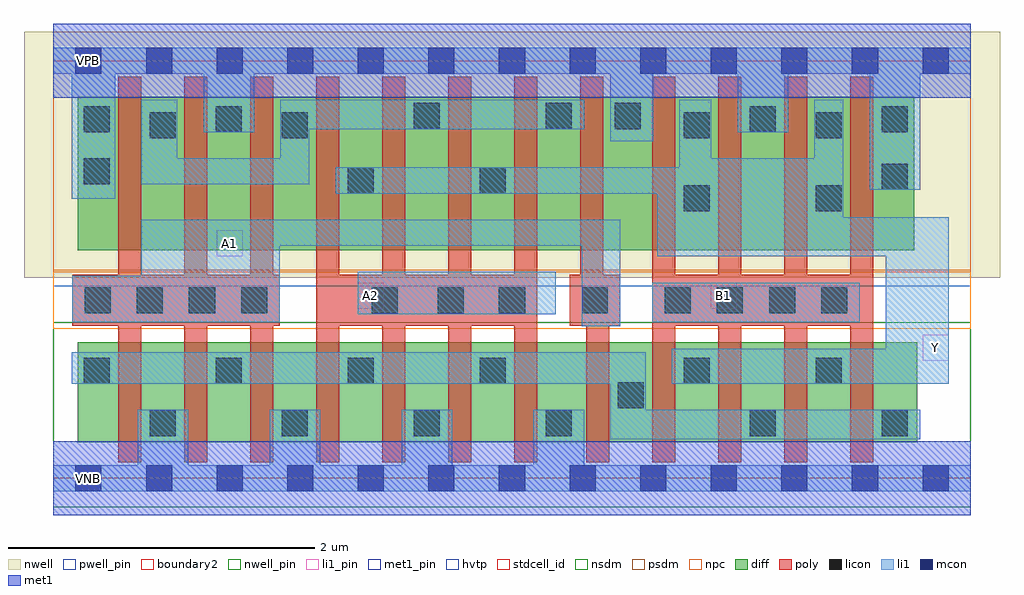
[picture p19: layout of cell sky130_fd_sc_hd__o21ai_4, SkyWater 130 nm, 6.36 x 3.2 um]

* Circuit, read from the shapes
.subckt sky130_fd_sc_hd__o21ai_4 A1 A2 B1 VGND VNB VPB VPWR Y
XM1 VGND A1 n1 VNB sky130_fd_pr__nfet_01v8 w=0.65 l=0.15 m=4
XM2 n1 A2 VGND VNB sky130_fd_pr__nfet_01v8 w=0.65 l=0.15 m=4
XM3 Y B1 n1 VNB sky130_fd_pr__nfet_01v8 w=0.65 l=0.15 m=4
XM4 n2 A1 VPWR VPB sky130_fd_pr__pfet_01v8_hvt w=1 l=0.15 m=4
XM5 Y A2 n2 VPB sky130_fd_pr__pfet_01v8_hvt w=1 l=0.15 m=4
XM6 Y B1 VPWR VPB sky130_fd_pr__pfet_01v8_hvt w=1 l=0.15 m=4
.ends

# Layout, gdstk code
import gdstk
lib = gdstk.Library(unit=1e-6, precision=1e-09)
def R(c, l, rs):  # rectangles x0, y0, x1, y1
    for r in rs: c.add(gdstk.rectangle(r[:2], r[2:], *l))
def A(c, l, x, y, w, h, nx, ny, dx, dy):  # array of equal rectangles
    R(c, l, [(x+i*dx, y+j*dy, x+i*dx+w, y+j*dy+h) for i in range(nx) for j in range(ny)])
def P(c, l, *ps):  # polygons
    for p in ps: c.add(gdstk.Polygon(p, *l))
nwell_pin = (64, 16)
nwell = (64, 20)
diff = (65, 20)
poly = (66, 20)
licon = (66, 44)
li1_pin = (67, 16)
li1 = (67, 20)
mcon = (67, 44)
met1_pin = (68, 16)
met1 = (68, 20)
hvtp = (78, 44)
stdcell_id = (81, 4)
nsdm = (93, 44)
psdm = (94, 20)
npc = (95, 20)
pwell_pin = (122, 16)
boundary2 = (236, 0)

sky130_fd_sc_hd__o21ai_4 = lib.new_cell('sky130_fd_sc_hd__o21ai_4')
R(sky130_fd_sc_hd__o21ai_4, nwell_pin, [(0.145,2.635,0.315,2.805)])
R(sky130_fd_sc_hd__o21ai_4, nwell, [(-0.19,1.305,6.17,2.91)])
R(sky130_fd_sc_hd__o21ai_4, diff, [(0.16,0.235,5.63,0.885), (0.16,1.485,5.61,2.485)])
P(sky130_fd_sc_hd__o21ai_4, poly, [(1.475,1.325),(1.435,1.325),(1.435,2.615),(1.285,2.615),(1.285,1.325),(1.005,1.325),(1.005,2.615),(0.855,2.615),(0.855,1.325),(0.575,1.325),(0.575,2.615),(0.425,2.615),(0.425,1.325),(0.125,1.325),(0.125,0.995),(0.425,0.995),(0.425,0.105),(0.575,0.105),(0.575,0.995),(0.855,0.995),(0.855,0.105),(1.005,0.105),(1.005,0.995),(1.285,0.995),(1.285,0.105),(1.435,0.105),(1.435,0.995),(1.475,0.995)],
  [(3.155,2.615),(3.005,2.615),(3.005,1.325),(2.725,1.325),(2.725,2.615),(2.575,2.615),(2.575,1.325),(2.295,1.325),(2.295,2.615),(2.145,2.615),(2.145,1.325),(1.865,1.325),(1.865,2.615),(1.715,2.615),(1.715,0.105),(1.865,0.105),(1.865,0.995),(2.145,0.995),(2.145,0.105),(2.295,0.105),(2.295,0.995),(2.575,0.995),(2.575,0.105),(2.725,0.105),(2.725,0.995),(3.005,0.995),(3.005,0.105),(3.155,0.105)],
  [(3.695,1.325),(3.585,1.325),(3.585,2.615),(3.435,2.615),(3.435,1.325),(3.365,1.325),(3.365,0.995),(3.475,0.995),(3.475,0.105),(3.625,0.105),(3.625,0.995),(3.695,0.995)],
  [(5.345,2.615),(5.195,2.615),(5.195,1.325),(4.915,1.325),(4.915,2.615),(4.765,2.615),(4.765,1.325),(4.485,1.325),(4.485,2.615),(4.335,2.615),(4.335,1.325),(4.055,1.325),(4.055,2.615),(3.905,2.615),(3.905,0.105),(4.055,0.105),(4.055,0.995),(4.335,0.995),(4.335,0.105),(4.485,0.105),(4.485,0.995),(4.765,0.995),(4.765,0.105),(4.915,0.105),(4.915,0.995),(5.195,0.995),(5.195,0.105),(5.345,0.105)])
A(sky130_fd_sc_hd__o21ai_4, licon, 0.63, 0.275, 0.17, 0.17, 4, 1, 0.86, 0)
A(sky130_fd_sc_hd__o21ai_4, licon, 0.2, 0.615, 0.17, 0.17, 4, 1, 0.86, 0)
A(sky130_fd_sc_hd__o21ai_4, licon, 0.205, 1.075, 0.17, 0.17, 4, 1, 0.34, 0)
A(sky130_fd_sc_hd__o21ai_4, licon, 2.905, 1.075, 0.17, 0.17, 3, 1, 0.54, 0)
A(sky130_fd_sc_hd__o21ai_4, licon, 4.325, 1.075, 0.17, 0.17, 3, 1, 0.34, 0)
R(sky130_fd_sc_hd__o21ai_4, licon, [(4.54,0.275,4.71,0.445), (5.4,0.275,5.57,0.445), (3.68,0.455,3.85,0.625), (4.11,0.615,4.28,0.785), (4.97,0.615,5.14,0.785), (2.075,1.075,2.245,1.245), (2.505,1.075,2.675,1.245), (4.11,1.74,4.28,1.91), (4.97,1.74,5.14,1.91), (1.92,1.855,2.09,2.025), (2.78,1.855,2.95,2.025), (5.4,1.88,5.57,2.05), (0.2,1.915,0.37,2.085), (0.63,2.215,0.8,2.385), (1.49,2.215,1.66,2.385), (4.11,2.215,4.28,2.385), (4.97,2.215,5.14,2.385), (0.2,2.255,0.37,2.425), (1.06,2.255,1.23,2.425), (4.54,2.255,4.71,2.425), (5.4,2.255,5.57,2.425), (2.35,2.275,2.52,2.445), (3.21,2.275,3.38,2.445), (3.66,2.275,3.83,2.445)])
R(sky130_fd_sc_hd__o21ai_4, li1_pin, [(5.665,0.765,5.835,0.935), (1.985,1.105,2.155,1.275), (4.285,1.105,4.455,1.275), (1.065,1.445,1.235,1.615)])
R(sky130_fd_sc_hd__o21ai_4, li1, [(3.905,1.015,5.255,1.275), (1.985,1.07,3.275,1.345)])
P(sky130_fd_sc_hd__o21ai_4, li1, [(5.98,0.085),(3.46,0.085),(3.46,0.445),(3.13,0.445),(3.13,0.085),(2.6,0.085),(2.6,0.445),(2.27,0.445),(2.27,0.085),(1.74,0.085),(1.74,0.445),(1.41,0.445),(1.41,0.085),(0.88,0.085),(0.88,0.445),(0.55,0.445),(0.55,0.085),(0,0.085),(0,-0.085),(5.98,-0.085)],
  [(5.98,2.805),(0,2.805),(0,2.635),(0.12,2.635),(0.12,1.82),(0.405,1.82),(0.405,2.635),(0.98,2.635),(0.98,2.255),(1.31,2.255),(1.31,2.635),(3.63,2.635),(3.63,2.195),(3.91,2.195),(3.91,2.635),(4.46,2.635),(4.46,2.255),(4.79,2.255),(4.79,2.635),(5.32,2.635),(5.32,1.88),(5.65,1.88),(5.65,2.635),(5.98,2.635)],
  [(3.46,2.465),(1.48,2.465),(1.48,2.085),(0.81,2.085),(0.81,2.465),(0.575,2.465),(0.575,1.915),(1.67,1.915),(1.67,2.275),(3.46,2.275)],
  [(3.695,1.685),(0.575,1.685),(0.575,1.32),(0.125,1.32),(0.125,1.015),(1.475,1.015),(1.475,1.515),(3.445,1.515),(3.445,0.99),(3.695,0.99)],
  [(5.65,0.445),(3.86,0.445),(3.86,0.82),(0.12,0.82),(0.12,0.615),(3.63,0.615),(3.63,0.255),(5.65,0.255)],
  [(5.835,1.7),(5.15,1.7),(5.15,2.465),(4.96,2.465),(4.96,2.085),(4.29,2.085),(4.29,2.465),(4.08,2.465),(4.08,2.025),(1.84,2.025),(1.84,1.855),(3.935,1.855),(3.935,1.445),(5.425,1.445),(5.425,0.845),(4.03,0.845),(4.03,0.615),(5.835,0.615)])
A(sky130_fd_sc_hd__o21ai_4, mcon, 0.145, -0.085, 0.17, 0.17, 13, 2, 0.46, 2.72)
R(sky130_fd_sc_hd__o21ai_4, met1_pin, [(0.145,-0.085,0.315,0.085), (0.145,2.635,0.315,2.805)])
R(sky130_fd_sc_hd__o21ai_4, hvtp, [(0,1.25,5.98,2.72)])
R(sky130_fd_sc_hd__o21ai_4, stdcell_id, [(0,0,5.98,2.72)])
R(sky130_fd_sc_hd__o21ai_4, nsdm, [(0,-0.19,5.98,1.015)])
R(sky130_fd_sc_hd__o21ai_4, psdm, [(0,1.355,5.98,2.91)])
R(sky130_fd_sc_hd__o21ai_4, npc, [(0,0.975,5.98,1.345)])
R(sky130_fd_sc_hd__o21ai_4, pwell_pin, [(0.145,-0.085,0.315,0.085)])
R(sky130_fd_sc_hd__o21ai_4, boundary2, [(0,0,5.98,2.72)])
sky130_fd_sc_hd__o21ai_4.add(gdstk.FlexPath([(0,2.72),(5.98,2.72)], 0.48, ends="flush", simple_path=True, layer=68, datatype=20))  # met1
sky130_fd_sc_hd__o21ai_4.add(gdstk.FlexPath([(0,0),(5.98,0)], 0.48, ends="flush", simple_path=True, layer=68, datatype=20))  # met1
sky130_fd_sc_hd__o21ai_4.add(gdstk.Label('Y', (5.75,0.85), layer=67, texttype=5))
sky130_fd_sc_hd__o21ai_4.add(gdstk.Label('B1', (4.37,1.19), layer=67, texttype=5))
sky130_fd_sc_hd__o21ai_4.add(gdstk.Label('A2', (2.07,1.19), layer=67, texttype=5))
sky130_fd_sc_hd__o21ai_4.add(gdstk.Label('A1', (1.15,1.53), layer=67, texttype=5))
sky130_fd_sc_hd__o21ai_4.add(gdstk.Label('VNB', (0.23,0), layer=64, texttype=59))
sky130_fd_sc_hd__o21ai_4.add(gdstk.Label('VPB', (0.23,2.72), layer=64, texttype=5))
sky130_fd_sc_hd__o21ai_4.add(gdstk.Label('VPWR', (0.23,2.72), layer=68, texttype=5))
sky130_fd_sc_hd__o21ai_4.add(gdstk.Label('VGND', (0.23,0), layer=68, texttype=5))
sky130_fd_sc_hd__o21ai_4.add(gdstk.Label('o21ai_4', (0,0), layer=83, texttype=44))

lib.write_gds('sky130_fd_sc_hd__o21ai_4.gds')
